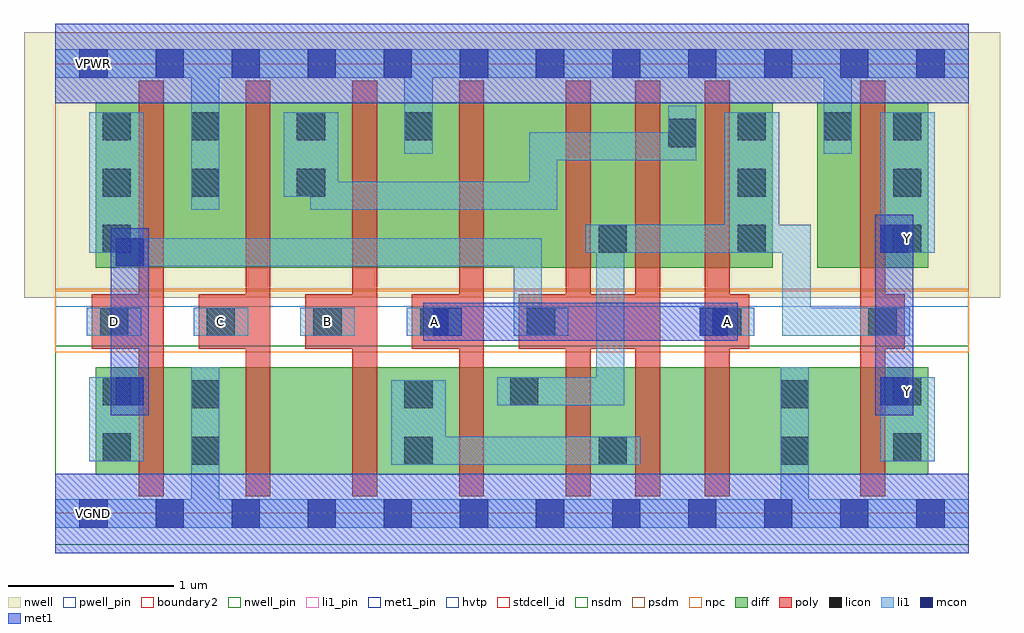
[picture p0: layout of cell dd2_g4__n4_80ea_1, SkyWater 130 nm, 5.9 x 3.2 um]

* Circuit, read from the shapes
.subckt dd2_g4__n4_80ea_1 A B C D VGND VNB VPB VPWR Y
XM1 VGND D n1 VNB sky130_fd_pr__nfet_01v8 w=0.65 l=0.15
XM2 n2 C VGND VNB sky130_fd_pr__nfet_01v8 w=0.65 l=0.15
XM3 n3 B n2 VNB sky130_fd_pr__nfet_01v8 w=0.65 l=0.15
XM4 n4 A n3 VNB sky130_fd_pr__nfet_01v8 w=0.65 l=0.15
XM5 n3 n1 n4 VNB sky130_fd_pr__nfet_01v8 w=0.65 l=0.15
XM6 n5 n1 n3 VNB sky130_fd_pr__nfet_01v8 w=0.65 l=0.15
XM7 VGND A n5 VNB sky130_fd_pr__nfet_01v8 w=0.65 l=0.15
XM8 Y n4 VGND VNB sky130_fd_pr__nfet_01v8 w=0.65 l=0.15
XM9 VPWR D n1 VPB sky130_fd_pr__pfet_01v8_hvt w=1 l=0.15
XM10 n6 C VPWR VPB sky130_fd_pr__pfet_01v8_hvt w=1 l=0.15
XM11 VPWR B n6 VPB sky130_fd_pr__pfet_01v8_hvt w=1 l=0.15
XM12 n7 A VPWR VPB sky130_fd_pr__pfet_01v8_hvt w=1 l=0.15
XM13 n4 n1 n7 VPB sky130_fd_pr__pfet_01v8_hvt w=1 l=0.15
XM14 n6 n1 n4 VPB sky130_fd_pr__pfet_01v8_hvt w=1 l=0.15
XM15 n4 A n6 VPB sky130_fd_pr__pfet_01v8_hvt w=1 l=0.15
XM16 Y n4 VPWR VPB sky130_fd_pr__pfet_01v8_hvt w=1 l=0.15
.ends

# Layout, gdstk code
import gdstk
lib = gdstk.Library(unit=1e-6, precision=1e-09)
def R(c, l, rs):  # rectangles x0, y0, x1, y1
    for r in rs: c.add(gdstk.rectangle(r[:2], r[2:], *l))
def A(c, l, x, y, w, h, nx, ny, dx, dy):  # array of equal rectangles
    R(c, l, [(x+i*dx, y+j*dy, x+i*dx+w, y+j*dy+h) for i in range(nx) for j in range(ny)])
nwell_pin = (64, 16)
nwell = (64, 20)
diff = (65, 20)
poly = (66, 20)
licon = (66, 44)
li1_pin = (67, 16)
li1 = (67, 20)
mcon = (67, 44)
met1_pin = (68, 16)
met1 = (68, 20)
hvtp = (78, 44)
stdcell_id = (81, 4)
nsdm = (93, 44)
psdm = (94, 20)
npc = (95, 20)
pwell_pin = (122, 16)
boundary2 = (236, 0)

dd2_g4__n4_80ea_1 = lib.new_cell('dd2_g4__n4_80ea_1')
R(dd2_g4__n4_80ea_1, nwell_pin, [(0.145,2.635,0.315,2.805)])
R(dd2_g4__n4_80ea_1, nwell, [(-0.19,1.305,5.71,2.91)])
R(dd2_g4__n4_80ea_1, diff, [(0.245,0.235,0.9,0.885), (0.9,0.235,1.545,0.885), (1.545,0.235,2.19,0.885), (2.19,0.235,2.84,0.885), (2.84,0.235,3.37,0.885), (3.37,0.235,3.79,0.885), (3.79,0.235,4.47,0.885), (4.47,0.235,5.275,0.885), (0.245,1.485,0.9,2.485), (0.9,1.485,1.545,2.485), (1.545,1.485,2.19,2.485), (2.19,1.485,2.84,2.485), (2.84,1.485,3.37,2.485), (3.37,1.485,3.79,2.485), (3.79,1.485,4.335,2.485), (4.605,1.485,5.275,2.485)])
A(dd2_g4__n4_80ea_1, poly, 0.505, 0.105, 0.15, 2.51, 5, 1, 0.645, 0)
A(dd2_g4__n4_80ea_1, poly, 0.22, 0.995, 0.435, 0.33, 5, 1, 0.645, 0)
R(dd2_g4__n4_80ea_1, poly, [(3.505,0.105,3.655,2.615), (3.925,0.105,4.075,2.615), (4.865,0.105,5.015,2.615), (3.085,0.995,3.655,1.325), (3.925,0.995,4.195,1.325), (4.865,0.995,5.135,1.325)])
A(dd2_g4__n4_80ea_1, licon, 0.27, 1.075, 0.17, 0.17, 5, 1, 0.645, 0)
A(dd2_g4__n4_80ea_1, licon, 0.285, 1.575, 0.17, 0.17, 1, 3, 0, 0.34)
A(dd2_g4__n4_80ea_1, licon, 4.125, 1.575, 0.17, 0.17, 1, 3, 0, 0.34)
A(dd2_g4__n4_80ea_1, licon, 5.065, 1.575, 0.17, 0.17, 1, 3, 0, 0.34)
R(dd2_g4__n4_80ea_1, licon, [(0.82,0.295,0.99,0.465), (2.11,0.295,2.28,0.465), (3.285,0.295,3.455,0.465), (4.385,0.295,4.555,0.465), (0.285,0.315,0.455,0.485), (5.065,0.315,5.235,0.485), (0.82,0.635,0.99,0.805), (2.11,0.635,2.28,0.805), (4.385,0.635,4.555,0.805), (0.285,0.655,0.455,0.825), (2.75,0.655,2.92,0.825), (5.065,0.655,5.235,0.825), (3.975,1.075,4.145,1.245), (4.915,1.075,5.085,1.245), (3.285,1.575,3.455,1.745), (0.82,1.915,0.99,2.085), (1.46,1.915,1.63,2.085), (3.705,2.215,3.875,2.385), (0.82,2.255,0.99,2.425), (1.46,2.255,1.63,2.425), (2.11,2.255,2.28,2.425), (4.645,2.255,4.815,2.425)])
A(dd2_g4__n4_80ea_1, li1_pin, 0.27, 1.075, 0.17, 0.17, 4, 1, 0.645, 0)
R(dd2_g4__n4_80ea_1, li1_pin, [(5.065,0.655,5.235,0.825), (3.975,1.075,4.145,1.245), (5.065,1.575,5.235,1.745)])
A(dd2_g4__n4_80ea_1, li1, 0.19, 1.075, 0.33, 0.17, 5, 1, 0.645, 0)
R(dd2_g4__n4_80ea_1, li1, [(0,-0.085,5.52,0.085), (0.82,-0.085,0.99,0.545), (4.385,-0.085,4.555,0.545), (0.82,0.295,0.99,0.885), (2.03,0.295,2.36,0.465), (2.03,0.295,2.36,0.805), (2.19,0.295,3.375,0.465), (3.205,0.295,3.535,0.465), (4.385,0.295,4.555,0.885), (0.205,0.315,0.535,0.825), (4.985,0.315,5.315,0.825), (0.205,0.655,0.535,0.825), (2.67,0.655,3,0.825), (2.83,0.655,3.44,0.825), (3.27,0.655,3.44,1.745), (4.985,0.655,5.315,0.825), (2.77,1.075,2.94,1.665), (3.895,1.075,4.225,1.245), (4.395,1.075,5.005,1.245), (4.395,1.075,4.565,1.745), (4.835,1.075,5.165,1.245), (0.365,1.495,2.94,1.665), (0.365,1.495,0.535,1.745), (0.205,1.575,0.535,1.745), (0.205,1.575,0.535,2.085), (3.205,1.575,3.535,1.745), (3.365,1.575,4.215,1.745), (4.045,1.575,4.375,1.745), (4.045,1.575,4.375,2.085), (4.205,1.575,4.565,1.745), (4.215,1.575,4.375,1.745), (4.215,1.575,4.375,1.745), (4.215,1.575,4.375,1.745), (4.215,1.575,4.375,1.745), (4.215,1.575,4.375,1.745), (4.215,1.575,4.375,1.745), (4.215,1.575,4.375,1.745), (4.215,1.575,4.375,1.745), (4.215,1.575,4.375,1.745), (4.215,1.575,4.375,1.745), (4.215,1.575,4.375,1.745), (4.215,1.575,4.375,1.745), (4.215,1.575,4.375,1.745), (4.215,1.575,4.375,1.745), (4.375,1.575,4.395,1.745), (4.375,1.575,4.395,1.745), (4.375,1.575,4.395,1.745), (4.375,1.575,4.395,1.745), (4.375,1.575,4.395,1.745), (4.375,1.575,4.395,1.745), (4.375,1.575,4.395,1.745), (4.375,1.575,4.395,1.745), (4.375,1.575,4.395,1.745), (4.375,1.575,4.395,1.745), (4.375,1.575,4.395,1.745), (4.375,1.575,4.395,1.745), (4.375,1.575,4.395,1.745), (4.375,1.575,4.395,1.745), (4.375,1.575,4.395,1.745), (4.375,1.575,4.395,1.745), (4.985,1.575,5.315,1.745), (4.985,1.575,5.315,2.085), (0.82,1.835,0.99,2.425), (1.54,1.835,1.71,2.425), (1.54,1.835,3.035,2.005), (2.865,1.835,3.035,2.305), (0.205,1.915,0.535,2.425), (1.38,1.915,1.71,2.425), (4.045,1.915,4.375,2.425), (4.985,1.915,5.315,2.425), (2.865,2.005,3.035,2.135), (2.865,2.005,3.035,2.135), (2.865,2.005,3.035,2.135), (2.865,2.005,3.035,2.135), (2.865,2.135,3.875,2.305), (3.705,2.135,3.875,2.465), (0.82,2.175,0.99,2.805), (2.11,2.175,2.28,2.805), (4.645,2.175,4.815,2.805), (1.38,2.255,1.71,2.425), (0,2.635,5.52,2.805)])
A(dd2_g4__n4_80ea_1, mcon, 0.145, -0.085, 0.17, 0.17, 12, 2, 0.46, 2.72)
R(dd2_g4__n4_80ea_1, mcon, [(0.365,0.655,0.535,0.825), (4.985,0.655,5.155,0.825), (2.285,1.075,2.455,1.245), (3.895,1.075,4.065,1.245), (0.365,1.495,0.535,1.665), (4.985,1.575,5.155,1.745)])
R(dd2_g4__n4_80ea_1, met1_pin, [(0.145,-0.085,0.315,0.085), (0.145,2.635,0.315,2.805)])
R(dd2_g4__n4_80ea_1, met1, [(0,-0.24,5.52,0.24), (0.335,0.595,0.565,0.885), (4.955,0.595,5.185,0.885), (0.335,0.625,0.565,1.695), (4.955,0.625,5.185,1.775), (2.225,1.045,2.515,1.275), (2.255,1.045,4.095,1.275), (3.835,1.045,4.125,1.275), (0.335,1.435,0.565,1.725), (4.955,1.515,5.185,1.805), (0,2.48,5.52,2.96)])
R(dd2_g4__n4_80ea_1, hvtp, [(0,1.25,5.52,2.72)])
R(dd2_g4__n4_80ea_1, stdcell_id, [(0,0,5.52,2.72)])
R(dd2_g4__n4_80ea_1, nsdm, [(0,-0.19,5.52,1.015)])
R(dd2_g4__n4_80ea_1, psdm, [(0,1.355,5.52,2.91)])
R(dd2_g4__n4_80ea_1, npc, [(0,0.975,5.52,1.345)])
R(dd2_g4__n4_80ea_1, pwell_pin, [(0.145,-0.085,0.315,0.085)])
R(dd2_g4__n4_80ea_1, boundary2, [(0,0,5.52,2.72)])
dd2_g4__n4_80ea_1.add(gdstk.Label('A', (2.29,1.16), layer=67, texttype=5))
dd2_g4__n4_80ea_1.add(gdstk.Label('A', (4.06,1.16), layer=67, texttype=5))
dd2_g4__n4_80ea_1.add(gdstk.Label('B', (1.645,1.16), layer=67, texttype=5))
dd2_g4__n4_80ea_1.add(gdstk.Label('C', (1,1.16), layer=67, texttype=5))
dd2_g4__n4_80ea_1.add(gdstk.Label('D', (0.355,1.16), layer=67, texttype=5))
dd2_g4__n4_80ea_1.add(gdstk.Label('Y', (5.15,0.74), layer=67, texttype=5))
dd2_g4__n4_80ea_1.add(gdstk.Label('Y', (5.15,1.66), layer=67, texttype=5))
dd2_g4__n4_80ea_1.add(gdstk.Label('VGND', (0.23,0), layer=68, texttype=5))
dd2_g4__n4_80ea_1.add(gdstk.Label('VPWR', (0.23,2.72), layer=68, texttype=5))
dd2_g4__n4_80ea_1.add(gdstk.Label('VPB', (0.23,2.72), layer=64, texttype=5))
dd2_g4__n4_80ea_1.add(gdstk.Label('VNB', (0.23,0), layer=64, texttype=59))

lib.write_gds('dd2_g4__n4_80ea_1.gds')
